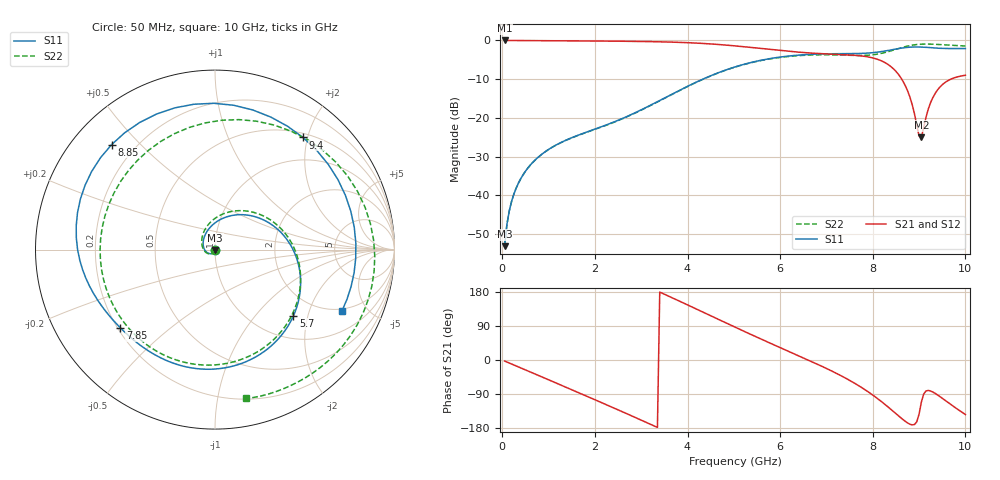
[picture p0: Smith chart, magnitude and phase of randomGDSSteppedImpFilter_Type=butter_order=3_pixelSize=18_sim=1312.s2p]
! freq	dB(S11)	phase(S11)	dB(S12)	phase(S12)
!  dB(S21)	phase(S21)	dB(S22)	phase(S22)
!S-par simulation data
#  GHz  S  DB  R 50
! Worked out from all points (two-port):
!   200 points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, 50 MHz to 10 GHz, reference 50 ohm
!   highest |S21| = 0.00 dB at 50 MHz (marker M1); lowest = -25.0 dB at 9.05 GHz (marker M2)
!   |S21| within 3 dB of the highest: start of sweep to 6.38 GHz
!   lowest |S11| = -53.1 dB at 50 MHz (marker M3), VSWR 1.00, Z = 50 - j0.219 ohm
!   |S11| at or under -10 dB: start of sweep to 4.328 GHz
!   |S22| runs from -53.1 to -0.9 dB; largest |S21 - S12| = 0
!   S11 on the Smith chart (normalised r, x): 50 MHz: 1.00, -0.00; 5.7 GHz: 1.49, -1.63; 7.85 GHz: 0.21, -0.35; 8.85 GHz: 0.12, +0.41; 9.4 GHz: 0.57, +1.92; 10 GHz: 1.88, -3.37
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0.05  -53.08 -80.8  -0.00 -2.7  -0.00 -2.7  -53.07 -80.6
0.2  -41.57 -98.2  -0.02 -10.5  -0.02 -10.5  -41.56 -97.3
0.5  -33.75 -117.4  -0.04 -26.2  -0.04 -26.2  -33.75 -115.0
1.15  -27.05 -154.8  -0.08 -60.1  -0.08 -60.1  -27.08 -148.9
1.75  -23.95 171.2  -0.12 -91.6  -0.12 -91.6  -24.01 -179.0
2.7  -19.58 118.3  -0.22 -142.3  -0.22 -142.3  -19.66 132.1
3.4  -15.49 80.9  -0.35 179.3  -0.35 179.3  -15.56 93.4
4.3  -10.15 33.1  -0.75 128.3  -0.75 128.3  -10.20 40.7
5.05  -6.74 -6.8  -1.43 85.4  -1.43 85.4  -6.79 -4.0
5.7  -4.85 -40.2  -2.22 49.1  -2.22 49.1  -4.93 -42.2
6.7  -3.56 -87.7  -3.28 -5.3  -3.28 -5.3  -3.75 -102.7
7.25  -3.42 -112.5  -3.61 -37.4  -3.61 -37.4  -3.75 -142.6
7.85  -3.30 -140.4  -4.16 -79.8  -4.16 -79.8  -3.84 156.9
8.1  -3.02 -154.0  -4.86 -101.5  -4.86 -101.5  -3.53 123.7
8.35  -2.54 -171.4  -6.37 -126.0  -6.37 -126.0  -2.83 87.0
8.6  -2.01 165.1  -9.51 -152.0  -9.51 -152.0  -1.93 49.9
8.85  -1.71 134.6  -16.50 -171.2  -16.50 -171.2  -1.22 15.8
9.05  -1.71 105.9  -24.96 -110.7  -24.96 -110.7  -0.96 -7.9
9.2  -1.82 82.7  -17.66 -80.3  -17.66 -80.3  -0.94 -23.2
9.4  -2.00 51.9  -12.74 -92.3  -12.74 -92.3  -1.03 -40.4
9.7  -2.09 9.2  -9.91 -118.8  -9.91 -118.8  -1.24 -61.0
10  -2.10 -25.9  -8.97 -143.9  -8.97 -143.9  -1.44 -78.1
